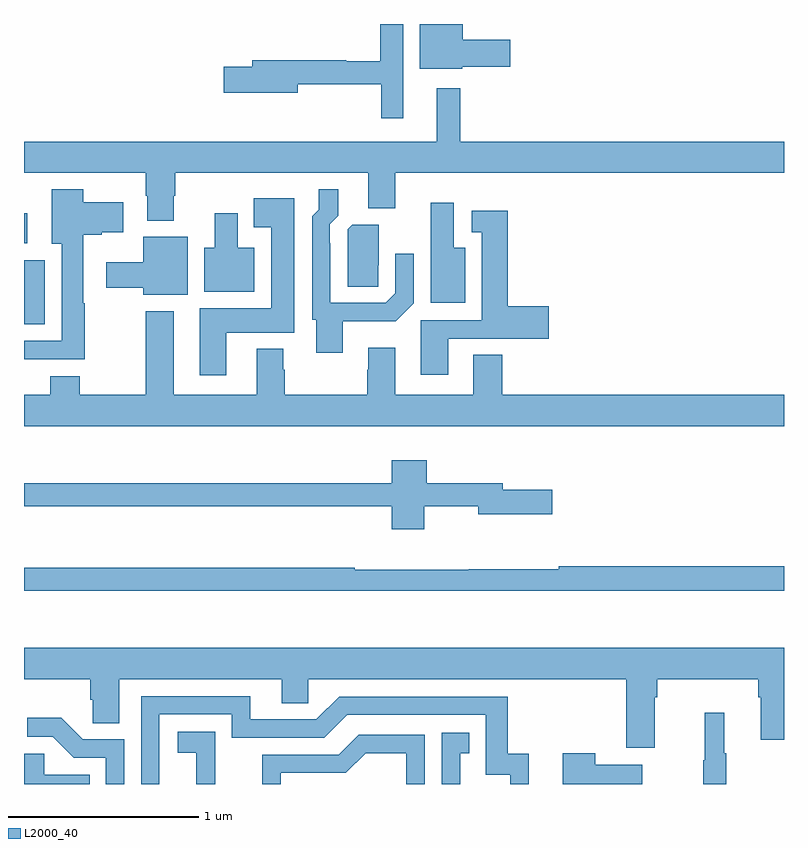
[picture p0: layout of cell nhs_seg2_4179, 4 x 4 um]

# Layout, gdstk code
import gdstk
lib = gdstk.Library(unit=1e-6, precision=1e-09)
def R(c, l, rs):  # rectangles x0, y0, x1, y1
    for r in rs: c.add(gdstk.rectangle(r[:2], r[2:], *l))
def P(c, l, *ps):  # polygons
    for p in ps: c.add(gdstk.Polygon(p, *l))
L2000_40 = (2000, 40)

nhs_seg2_4179 = lib.new_cell('nhs_seg2_4179')
R(nhs_seg2_4179, L2000_40, [(337,600.221,337.108,600.556), (337,600.645,337.018,600.805)])
P(nhs_seg2_4179, L2000_40, [(338.995,601.8),(338.874,601.8),(338.874,601.603),(338.695,601.603),(338.695,601.61),(338.201,601.61),(338.201,601.574),(338.052,601.574),(338.052,601.439),(338.44,601.439),(338.44,601.482),(338.881,601.482),(338.881,601.305),(338.995,601.305)],
  [(339.306,601.576),(339.559,601.576),(339.559,601.718),(339.31,601.718),(339.31,601.8),(339.083,601.8),(339.083,601.565),(339.306,601.565)],
  [(339.173,601.462),(339.173,601.18),(337,601.18),(337,601.016),(337.642,601.016),(337.642,600.896),(337.649,600.896),(337.649,600.764),(337.789,600.764),(337.789,600.896),(337.797,600.896),(337.797,601.016),(338.813,601.016),(338.813,600.829),(338.953,600.829),(338.953,601.016),(341,601.016),(341,601.18),(339.295,601.18),(339.295,601.462)],
  [(338.677,600.236),(338.957,600.236),(339.051,600.33),(339.051,600.592),(338.955,600.592),(338.955,600.384),(338.904,600.333),(338.613,600.333),(338.613,600.647),(338.61,600.647),(338.61,600.747),(338.653,600.79),(338.653,600.931),(338.552,600.931),(338.552,600.822),(338.517,600.787),(338.517,600.243),(338.537,600.243),(338.537,600.069),(338.677,600.069)],
  [(337.32,600.329),(337.312,600.329),(337.312,600.692),(337.409,600.692),(337.409,600.704),(337.522,600.704),(337.522,600.862),(337.312,600.862),(337.312,600.931),(337.145,600.931),(337.145,600.644),(337.199,600.644),(337.199,600.132),(337,600.132),(337,600.035),(337.32,600.035)],
  [(338.065,600.176),(338.422,600.176),(338.422,600.883),(338.21,600.883),(338.21,600.731),(338.3,600.731),(338.3,600.304),(337.925,600.304),(337.925,599.952),(338.065,599.952)],
  [(339.322,600.622),(339.262,600.622),(339.262,600.859),(339.14,600.859),(339.14,600.332),(339.322,600.332)],
  [(339.232,600.144),(339.501,600.144),(339.501,600.143),(339.763,600.143),(339.763,600.314),(339.545,600.314),(339.545,600.817),(339.357,600.817),(339.357,600.704),(339.41,600.704),(339.41,600.24),(339.089,600.24),(339.089,599.955),(339.232,599.955)],
  [(338.212,600.622),(338.125,600.622),(338.125,600.805),(338.003,600.805),(338.003,600.622),(337.949,600.622),(337.949,600.392),(338.212,600.392)],
  [(338.865,600.529),(338.866,600.529),(338.866,600.744),(338.727,600.744),(338.703,600.72),(338.703,600.418),(338.865,600.418)],
  [(337.861,600.679),(337.628,600.679),(337.628,600.547),(337.434,600.547),(337.434,600.413),(337.628,600.413),(337.628,600.374),(337.861,600.374)],
  [(341,599.848),(339.518,599.848),(339.518,600.058),(339.365,600.058),(339.365,599.848),(338.953,599.848),(338.953,600.097),(338.813,600.097),(338.813,599.981),(338.806,599.981),(338.806,599.848),(338.373,599.848),(338.373,599.981),(338.365,599.981),(338.365,600.091),(338.225,600.091),(338.225,599.848),(337.789,599.848),(337.789,600.289),(337.642,600.289),(337.642,599.848),(337.293,599.848),(337.293,599.947),(337.138,599.947),(337.138,599.848),(337,599.848),(337,599.684),(341,599.684)],
  [(339.106,599.262),(339.392,599.262),(339.392,599.219),(339.781,599.219),(339.781,599.349),(339.52,599.349),(339.52,599.383),(339.119,599.383),(339.119,599.503),(338.936,599.503),(338.936,599.383),(337,599.383),(337,599.262),(338.936,599.262),(338.936,599.142),(339.106,599.142)],
  [(341,598.946),(339.814,598.946),(339.814,598.931),(339.341,598.931),(339.341,598.928),(338.741,598.928),(338.741,598.939),(337,598.939),(337,598.818),(341,598.818)],
  [(340.321,598.256),(340.334,598.256),(340.334,598.352),(340.865,598.352),(340.865,598.256),(340.877,598.256),(340.877,598.032),(341,598.032),(341,598.516),(337,598.516),(337,598.352),(337.349,598.352),(337.349,598.243),(337.362,598.243),(337.362,598.12),(337.501,598.12),(337.501,598.352),(338.357,598.352),(338.357,598.225),(338.496,598.225),(338.496,598.352),(340.169,598.352),(340.169,597.99),(340.321,597.99)],
  [(337.713,598.167),(338.094,598.167),(338.094,598.044),(338.58,598.044),(338.7,598.164),(339.429,598.164),(339.429,597.849),(339.558,597.849),(339.558,597.8),(339.656,597.8),(339.656,597.958),(339.545,597.958),(339.545,598.26),(338.658,598.26),(338.538,598.14),(338.191,598.14),(338.191,598.263),(337.617,598.263),(337.617,597.8),(337.713,597.8)],
  [(340.696,597.961),(340.685,597.961),(340.685,598.174),(340.582,598.174),(340.582,597.924),(340.575,597.924),(340.575,597.8),(340.696,597.8)],
  [(337.527,598.035),(337.308,598.035),(337.195,598.148),(337.017,598.148),(337.017,598.05),(337.151,598.05),(337.262,597.939),(337.431,597.939),(337.431,597.8),(337.527,597.8)],
  [(338.006,597.869),(338.007,597.869),(338.007,598.075),(337.809,598.075),(337.809,597.965),(337.907,597.965),(337.907,597.8),(338.006,597.8)],
  [(339.295,597.963),(339.344,597.963),(339.344,598.069),(339.198,598.069),(339.198,597.8),(339.295,597.8)],
  [(338.352,597.858),(338.694,597.858),(338.798,597.962),(339.012,597.962),(339.012,597.8),(339.108,597.8),(339.108,598.059),(338.762,598.059),(338.657,597.954),(338.254,597.954),(338.254,597.8),(338.352,597.8)],
  [(340.255,597.901),(340.007,597.901),(340.007,597.961),(339.836,597.961),(339.836,597.8),(340.255,597.8)],
  [(337.346,597.85),(337.107,597.85),(337.107,597.958),(337,597.958),(337,597.8),(337.346,597.8)])

lib.write_gds('nhs_seg2_4179.gds')
